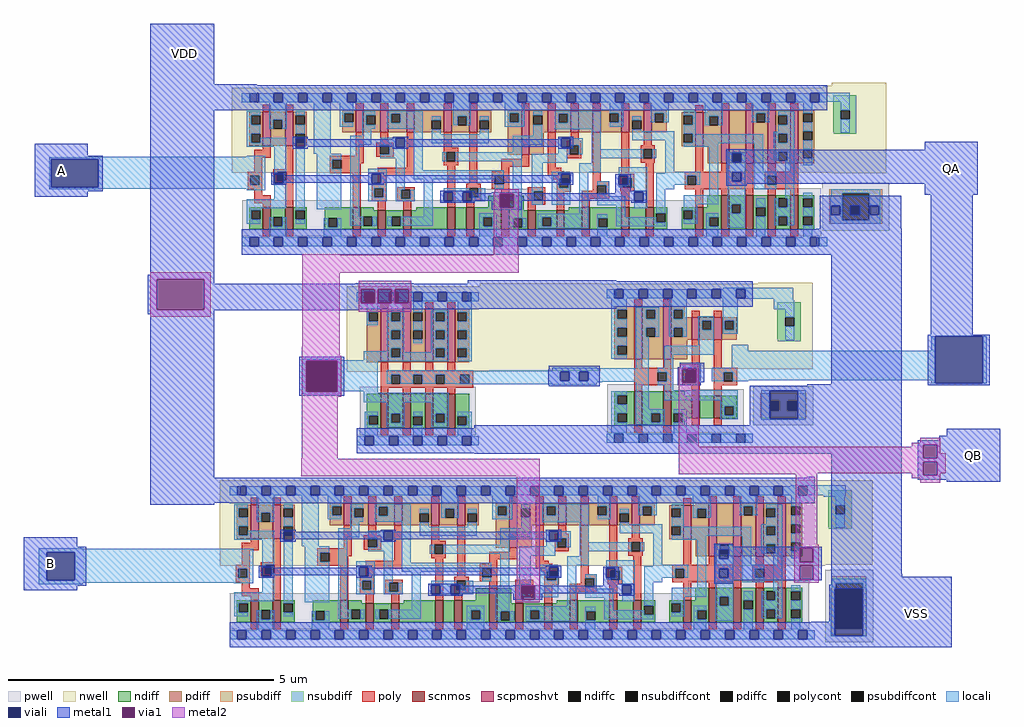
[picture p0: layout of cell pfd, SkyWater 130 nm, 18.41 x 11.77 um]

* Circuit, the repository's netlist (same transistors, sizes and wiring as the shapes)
* NGSPICE file created from pfd.ext - technology: sky130A

.subckt sky130_fd_sc_hd__dfrbp_2 CLK D RESET_B VGND VNB VPB VPWR Q Q_N
X0 a_1217_47# a_27_47# a_1108_47# VNB sky130_fd_pr__nfet_01v8 ad=0.0669 pd=0.75 as=0.0711 ps=0.755 w=0.36 l=0.15
X1 a_805_47# a_761_289# a_639_47# VNB sky130_fd_pr__nfet_01v8 ad=0.0441 pd=0.63 as=0.1401 ps=1.1 w=0.42 l=0.15
X2 a_1108_47# a_193_47# a_761_289# VNB sky130_fd_pr__nfet_01v8 ad=0.0711 pd=0.755 as=0.0999 ps=0.985 w=0.36 l=0.15
X3 a_1283_21# a_1108_47# a_1462_47# VNB sky130_fd_pr__nfet_01v8 ad=0.1092 pd=1.36 as=0.06405 ps=0.725 w=0.42 l=0.15
X4 Q_N a_1659_47# VGND VNB sky130_fd_pr__nfet_01v8 ad=0.08775 pd=0.92 as=0.08775 ps=0.92 w=0.65 l=0.15
X5 a_651_413# a_27_47# a_543_47# VPB sky130_fd_pr__pfet_01v8_hvt ad=0.1155 pd=0.97 as=0.07245 ps=0.765 w=0.42 l=0.15
X6 VGND RESET_B a_805_47# VNB sky130_fd_pr__nfet_01v8 ad=0.1346 pd=1.15 as=0.0441 ps=0.63 w=0.42 l=0.15
X7 VPWR a_1283_21# Q VPB sky130_fd_pr__pfet_01v8_hvt ad=0.135 pd=1.27 as=0.155 ps=1.31 w=1 l=0.15
X8 VPWR CLK a_27_47# VPB sky130_fd_pr__pfet_01v8_hvt ad=0.0864 pd=0.91 as=0.1664 ps=1.8 w=0.64 l=0.15
X9 a_448_47# D VPWR VPB sky130_fd_pr__pfet_01v8_hvt ad=0.0651 pd=0.73 as=0.1092 ps=1.36 w=0.42 l=0.15
X10 VPWR a_1283_21# a_1659_47# VPB sky130_fd_pr__pfet_01v8_hvt ad=0.1522 pd=1.335 as=0.1664 ps=1.8 w=0.64 l=0.15
X11 a_761_289# a_543_47# VGND VNB sky130_fd_pr__nfet_01v8 ad=0.0999 pd=0.985 as=0.1346 ps=1.15 w=0.64 l=0.15
X12 VGND a_1283_21# a_1659_47# VNB sky130_fd_pr__nfet_01v8 ad=0.10025 pd=0.985 as=0.1092 ps=1.36 w=0.42 l=0.15
X13 a_193_47# a_27_47# VGND VNB sky130_fd_pr__nfet_01v8 ad=0.1092 pd=1.36 as=0.0567 ps=0.69 w=0.42 l=0.15
X14 a_1108_47# a_27_47# a_761_289# VPB sky130_fd_pr__pfet_01v8_hvt ad=0.0588 pd=0.7 as=0.12915 ps=1.185 w=0.42 l=0.15
X15 VPWR a_1659_47# Q_N VPB sky130_fd_pr__pfet_01v8_hvt ad=0.31 pd=2.62 as=0.135 ps=1.27 w=1 l=0.15
X16 a_543_47# a_27_47# a_448_47# VNB sky130_fd_pr__nfet_01v8 ad=0.0594 pd=0.69 as=0.066 ps=0.745 w=0.36 l=0.15
X17 a_1462_47# RESET_B VGND VNB sky130_fd_pr__nfet_01v8 ad=0.06405 pd=0.725 as=0.12495 ps=1.015 w=0.42 l=0.15
X18 VGND a_1659_47# Q_N VNB sky130_fd_pr__nfet_01v8 ad=0.2015 pd=1.92 as=0.08775 ps=0.92 w=0.65 l=0.15
X19 a_543_47# a_193_47# a_448_47# VPB sky130_fd_pr__pfet_01v8_hvt ad=0.07245 pd=0.765 as=0.0651 ps=0.73 w=0.42 l=0.15
X20 a_448_47# D VGND VNB sky130_fd_pr__nfet_01v8 ad=0.066 pd=0.745 as=0.2205 ps=1.89 w=0.42 l=0.15
X21 VPWR a_1283_21# a_1270_413# VPB sky130_fd_pr__pfet_01v8_hvt ad=0.0819 pd=0.81 as=0.0567 ps=0.69 w=0.42 l=0.15
X22 VPWR a_1108_47# a_1283_21# VPB sky130_fd_pr__pfet_01v8_hvt ad=0.1197 pd=1.41 as=0.0567 ps=0.69 w=0.42 l=0.15
X23 a_1270_413# a_193_47# a_1108_47# VPB sky130_fd_pr__pfet_01v8_hvt ad=0.0567 pd=0.69 as=0.0588 ps=0.7 w=0.42 l=0.15
X24 a_193_47# a_27_47# VPWR VPB sky130_fd_pr__pfet_01v8_hvt ad=0.1664 pd=1.8 as=0.0864 ps=0.91 w=0.64 l=0.15
X25 a_1283_21# RESET_B VPWR VPB sky130_fd_pr__pfet_01v8_hvt ad=0.0567 pd=0.69 as=0.0819 ps=0.81 w=0.42 l=0.15
X26 Q a_1283_21# VGND VNB sky130_fd_pr__nfet_01v8 ad=0.10075 pd=0.96 as=0.10025 ps=0.985 w=0.65 l=0.15
X27 VPWR a_761_289# a_651_413# VPB sky130_fd_pr__pfet_01v8_hvt ad=0.07035 pd=0.755 as=0.1155 ps=0.97 w=0.42 l=0.15
X28 VGND a_1283_21# Q VNB sky130_fd_pr__nfet_01v8 ad=0.08775 pd=0.92 as=0.10075 ps=0.96 w=0.65 l=0.15
X29 Q_N a_1659_47# VPWR VPB sky130_fd_pr__pfet_01v8_hvt ad=0.135 pd=1.27 as=0.135 ps=1.27 w=1 l=0.15
X30 Q a_1283_21# VPWR VPB sky130_fd_pr__pfet_01v8_hvt ad=0.155 pd=1.31 as=0.1522 ps=1.335 w=1 l=0.15
X31 a_639_47# a_193_47# a_543_47# VNB sky130_fd_pr__nfet_01v8 ad=0.1401 pd=1.1 as=0.0594 ps=0.69 w=0.36 l=0.15
X32 VGND a_1283_21# a_1217_47# VNB sky130_fd_pr__nfet_01v8 ad=0.12495 pd=1.015 as=0.0669 ps=0.75 w=0.42 l=0.15
X33 a_651_413# RESET_B VPWR VPB sky130_fd_pr__pfet_01v8_hvt ad=0.1092 pd=1.36 as=0.07035 ps=0.755 w=0.42 l=0.15
X34 VGND CLK a_27_47# VNB sky130_fd_pr__nfet_01v8 ad=0.0567 pd=0.69 as=0.1092 ps=1.36 w=0.42 l=0.15
X35 a_761_289# a_543_47# VPWR VPB sky130_fd_pr__pfet_01v8_hvt ad=0.12915 pd=1.185 as=0.2184 ps=2.2 w=0.84 l=0.15
.ends

.subckt sky130_fd_sc_hd__and2_2 A B VGND VNB VPB VPWR X
X0 X a_61_75# VPWR VPB sky130_fd_pr__pfet_01v8_hvt ad=0.195 pd=1.39 as=0.16655 ps=1.39 w=1 l=0.15
X1 VPWR a_61_75# X VPB sky130_fd_pr__pfet_01v8_hvt ad=0.38 pd=2.76 as=0.195 ps=1.39 w=1 l=0.15
X2 VPWR B a_61_75# VPB sky130_fd_pr__pfet_01v8_hvt ad=0.16655 pd=1.39 as=0.0567 ps=0.69 w=0.42 l=0.15
X3 VGND B a_147_75# VNB sky130_fd_pr__nfet_01v8 ad=0.1118 pd=1.04 as=0.0567 ps=0.69 w=0.42 l=0.15
X4 X a_61_75# VGND VNB sky130_fd_pr__nfet_01v8 ad=0.12675 pd=1.04 as=0.1118 ps=1.04 w=0.65 l=0.15
X5 VGND a_61_75# X VNB sky130_fd_pr__nfet_01v8 ad=0.247 pd=2.06 as=0.12675 ps=1.04 w=0.65 l=0.15
X6 a_61_75# A VPWR VPB sky130_fd_pr__pfet_01v8_hvt ad=0.0567 pd=0.69 as=0.1176 ps=1.4 w=0.42 l=0.15
X7 a_147_75# A a_61_75# VNB sky130_fd_pr__nfet_01v8 ad=0.0567 pd=0.69 as=0.1176 ps=1.4 w=0.42 l=0.15
.ends

.subckt sky130_fd_sc_hd__inv_4 A VGND VNB VPB VPWR Y
X0 VPWR A Y VPB sky130_fd_pr__pfet_01v8_hvt ad=0.26 pd=2.52 as=0.135 ps=1.27 w=1 l=0.15
X1 Y A VPWR VPB sky130_fd_pr__pfet_01v8_hvt ad=0.135 pd=1.27 as=0.135 ps=1.27 w=1 l=0.15
X2 Y A VGND VNB sky130_fd_pr__nfet_01v8 ad=0.08775 pd=0.92 as=0.169 ps=1.82 w=0.65 l=0.15
X3 VPWR A Y VPB sky130_fd_pr__pfet_01v8_hvt ad=0.135 pd=1.27 as=0.135 ps=1.27 w=1 l=0.15
X4 VGND A Y VNB sky130_fd_pr__nfet_01v8 ad=0.08775 pd=0.92 as=0.08775 ps=0.92 w=0.65 l=0.15
X5 Y A VPWR VPB sky130_fd_pr__pfet_01v8_hvt ad=0.135 pd=1.27 as=0.26 ps=2.52 w=1 l=0.15
X6 VGND A Y VNB sky130_fd_pr__nfet_01v8 ad=0.169 pd=1.82 as=0.08775 ps=0.92 w=0.65 l=0.15
X7 Y A VGND VNB sky130_fd_pr__nfet_01v8 ad=0.08775 pd=0.92 as=0.08775 ps=0.92 w=0.65 l=0.15
.ends

.subckt pfd VSS VDD A QA QB B
Xx1 A VDD x4/Y VSS VSS VDD VDD QA x1/Q_N sky130_fd_sc_hd__dfrbp_2
Xx2 QA QB VSS VSS VDD VDD x4/A sky130_fd_sc_hd__and2_2
Xx3 B VDD x4/Y VSS VSS VDD VDD QB x3/Q_N sky130_fd_sc_hd__dfrbp_2
Xx4 x4/A VSS VSS VDD VDD x4/Y sky130_fd_sc_hd__inv_4
.ends

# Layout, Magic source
magic
tech sky130A
magscale 1 2
<< nwell >>
rect 3704 374 3908 384
rect 3672 328 3908 374
rect 3704 44 3908 328
rect 2376 -702 2832 -372
rect 3426 -696 3632 -370
rect 3674 -1434 3858 -1116
<< pwell >>
rect 3668 -174 3920 8
rect 3408 -908 3634 -760
rect 3678 -1726 3860 -1452
<< psubdiff >>
rect 3694 -32 3894 -18
rect 3694 -134 3743 -32
rect 3845 -134 3894 -32
rect 3694 -148 3894 -134
rect 3434 -817 3608 -786
rect 3434 -851 3470 -817
rect 3504 -851 3538 -817
rect 3572 -851 3608 -817
rect 3434 -882 3608 -851
rect 3704 -1504 3834 -1478
rect 3704 -1674 3718 -1504
rect 3820 -1674 3834 -1504
rect 3704 -1700 3834 -1674
<< nsubdiff >>
rect 3708 281 3796 338
rect 3708 247 3737 281
rect 3771 247 3796 281
rect 3708 198 3796 247
rect 3710 192 3796 198
rect 3498 -501 3586 -444
rect 3498 -535 3527 -501
rect 3561 -535 3586 -501
rect 3498 -584 3586 -535
rect 3500 -590 3586 -584
rect 3690 -1209 3778 -1152
rect 3690 -1243 3719 -1209
rect 3753 -1243 3778 -1209
rect 3690 -1292 3778 -1243
rect 3692 -1298 3778 -1292
<< psubdiffcont >>
rect 3743 -134 3845 -32
rect 3470 -851 3504 -817
rect 3538 -851 3572 -817
rect 3718 -1674 3820 -1504
<< nsubdiffcont >>
rect 3737 247 3771 281
rect 3527 -535 3561 -501
rect 3719 -1243 3753 -1209
<< locali >>
rect 3658 312 3772 346
rect 1750 256 1814 312
rect 3737 281 3771 312
rect 3737 196 3771 247
rect 3312 118 3376 122
rect 890 104 1560 106
rect 752 96 1560 104
rect 752 -10 758 96
rect 936 -10 1560 96
rect 3312 84 3327 118
rect 3361 84 3376 118
rect 3312 46 3376 84
rect 3312 12 3327 46
rect 3361 12 3376 46
rect 3312 8 3376 12
rect 752 -16 1560 -10
rect 752 -18 942 -16
rect 3702 -32 3886 -18
rect 3702 -48 3743 -32
rect 3698 -80 3743 -48
rect 3845 -80 3886 -32
rect 3698 -114 3702 -80
rect 3736 -114 3743 -80
rect 3845 -114 3846 -80
rect 3880 -114 3886 -80
rect 3698 -134 3743 -114
rect 3845 -134 3886 -114
rect 3698 -146 3886 -134
rect 3702 -148 3886 -146
rect 3294 -430 3558 -388
rect 3484 -436 3558 -430
rect 3484 -470 3562 -436
rect 3527 -501 3561 -470
rect 3527 -586 3561 -535
rect 4078 -626 4094 -572
rect 1706 -662 1852 -656
rect 1706 -670 1982 -662
rect 1706 -776 1726 -670
rect 1832 -776 1982 -670
rect 2648 -692 2816 -690
rect 3142 -692 3210 -678
rect 2648 -702 3012 -692
rect 2282 -705 3012 -702
rect 2282 -739 2679 -705
rect 2713 -739 2751 -705
rect 2785 -739 3012 -705
rect 2282 -744 3012 -739
rect 3142 -726 3159 -692
rect 3193 -726 3210 -692
rect 3142 -740 3210 -726
rect 3338 -738 4094 -626
rect 2282 -746 2836 -744
rect 2964 -746 3012 -744
rect 2282 -752 2816 -746
rect 4078 -750 4094 -738
rect 4272 -750 4288 -572
rect 2648 -754 2816 -752
rect 1706 -780 1982 -776
rect 3438 -778 3606 -776
rect 1706 -790 1852 -780
rect 3438 -884 3469 -778
rect 3575 -884 3606 -778
rect 3438 -886 3606 -884
rect 1704 -1226 1766 -1168
rect 3548 -1172 3756 -1134
rect 3674 -1178 3754 -1172
rect 3719 -1209 3753 -1178
rect 3719 -1294 3753 -1243
rect 712 -1374 878 -1372
rect 712 -1387 1470 -1374
rect 712 -1493 742 -1387
rect 848 -1493 1470 -1387
rect 712 -1502 1470 -1493
rect 3266 -1377 3324 -1366
rect 3266 -1411 3278 -1377
rect 3312 -1411 3324 -1377
rect 3266 -1449 3324 -1411
rect 3266 -1483 3278 -1449
rect 3312 -1483 3324 -1449
rect 3266 -1494 3324 -1483
rect 712 -1508 878 -1502
rect 3704 -1504 3834 -1486
rect 3704 -1522 3718 -1504
rect 3700 -1524 3718 -1522
rect 3820 -1522 3834 -1504
rect 3820 -1524 3836 -1522
rect 3700 -1702 3715 -1524
rect 3821 -1702 3836 -1524
rect 3700 -1704 3836 -1702
<< viali >>
rect 758 -10 936 96
rect 3327 84 3361 118
rect 3327 12 3361 46
rect 3702 -114 3736 -80
rect 3774 -114 3808 -80
rect 3846 -114 3880 -80
rect 1726 -776 1832 -670
rect 2679 -739 2713 -705
rect 2751 -739 2785 -705
rect 3159 -726 3193 -692
rect 4094 -750 4272 -572
rect 3469 -817 3575 -778
rect 3469 -851 3470 -817
rect 3470 -851 3504 -817
rect 3504 -851 3538 -817
rect 3538 -851 3572 -817
rect 3572 -851 3575 -817
rect 3469 -884 3575 -851
rect 742 -1493 848 -1387
rect 3278 -1411 3312 -1377
rect 3278 -1483 3312 -1449
rect 3715 -1674 3718 -1524
rect 3718 -1674 3820 -1524
rect 3820 -1674 3821 -1524
rect 3715 -1702 3821 -1674
<< metal1 >>
rect 1132 378 1374 608
rect 1132 280 1534 378
rect 696 110 896 154
rect 696 96 954 110
rect 696 -10 758 96
rect 936 -10 954 96
rect 696 -24 954 -10
rect 696 -46 896 -24
rect 1132 -340 1374 280
rect 3306 132 3382 134
rect 4054 132 4254 162
rect 3306 118 4254 132
rect 3306 84 3327 118
rect 3361 84 4254 118
rect 3306 46 4254 84
rect 3306 12 3327 46
rect 3361 12 4254 46
rect 3306 4 4254 12
rect 3306 -4 3382 4
rect 2421 -35 2533 -28
rect 2421 -87 2451 -35
rect 2503 -87 2533 -35
rect 4054 -38 4254 4
rect 2421 -94 2533 -87
rect 3658 -80 3966 -42
rect 3658 -114 3702 -80
rect 3736 -114 3774 -80
rect 3808 -114 3846 -80
rect 3880 -114 3966 -80
rect 3658 -166 3966 -114
rect 3644 -264 3968 -166
rect 1122 -356 1374 -340
rect 1122 -472 1156 -356
rect 1336 -374 1374 -356
rect 1908 -374 2126 -372
rect 1336 -395 2126 -374
rect 1336 -447 1927 -395
rect 1979 -447 1991 -395
rect 2043 -447 2055 -395
rect 2107 -447 2126 -395
rect 1336 -470 2126 -447
rect 2330 -468 2890 -360
rect 1336 -472 1918 -470
rect 1122 -474 1918 -472
rect 1122 -488 1374 -474
rect 1132 -1106 1374 -488
rect 1694 -665 1864 -650
rect 1694 -781 1721 -665
rect 1837 -781 1864 -665
rect 2636 -698 2828 -684
rect 3130 -688 3222 -672
rect 2634 -705 2828 -698
rect 2634 -739 2679 -705
rect 2713 -739 2751 -705
rect 2785 -739 2828 -705
rect 2634 -754 2828 -739
rect 2636 -760 2828 -754
rect 3122 -692 3222 -688
rect 3122 -696 3159 -692
rect 3122 -748 3140 -696
rect 3193 -726 3222 -692
rect 3192 -746 3222 -726
rect 3192 -748 3210 -746
rect 3122 -756 3210 -748
rect 3702 -752 3968 -264
rect 4076 -566 4236 -38
rect 3610 -758 3968 -752
rect 4066 -572 4300 -566
rect 4066 -750 4094 -572
rect 4272 -750 4300 -572
rect 4066 -756 4300 -750
rect 1694 -796 1864 -781
rect 3394 -778 3968 -758
rect 3394 -884 3469 -778
rect 3575 -884 3968 -778
rect 2933 -908 3007 -906
rect 3394 -908 3968 -884
rect 2354 -1016 3968 -908
rect 4138 -948 4338 -920
rect 4108 -964 4338 -948
rect 1132 -1200 1474 -1106
rect 1132 -1208 1374 -1200
rect 3610 -1202 3640 -1102
rect 656 -1366 856 -1330
rect 3260 -1366 3330 -1354
rect 656 -1387 890 -1366
rect 656 -1493 742 -1387
rect 848 -1493 890 -1387
rect 656 -1514 890 -1493
rect 3260 -1372 3666 -1366
rect 3260 -1377 3582 -1372
rect 3260 -1411 3278 -1377
rect 3312 -1411 3582 -1377
rect 3260 -1424 3582 -1411
rect 3634 -1424 3666 -1372
rect 3260 -1436 3666 -1424
rect 3260 -1449 3582 -1436
rect 3260 -1483 3278 -1449
rect 3312 -1483 3582 -1449
rect 3260 -1488 3582 -1483
rect 3634 -1488 3666 -1436
rect 3260 -1492 3666 -1488
rect 3702 -1470 3968 -1016
rect 4028 -981 4338 -964
rect 4028 -1033 4049 -981
rect 4101 -1033 4338 -981
rect 4028 -1045 4338 -1033
rect 4028 -1097 4049 -1045
rect 4101 -1097 4338 -1045
rect 4028 -1114 4338 -1097
rect 4138 -1120 4338 -1114
rect 3702 -1480 3970 -1470
rect 3260 -1506 3330 -1492
rect 3702 -1510 4156 -1480
rect 2502 -1513 2612 -1512
rect 656 -1530 856 -1514
rect 2502 -1565 2531 -1513
rect 2583 -1565 2612 -1513
rect 2502 -1566 2612 -1565
rect 3694 -1524 4156 -1510
rect 3694 -1648 3715 -1524
rect 3626 -1702 3715 -1648
rect 3821 -1702 4156 -1524
rect 3626 -1746 4156 -1702
<< via1 >>
rect 2451 -87 2503 -35
rect 1156 -472 1336 -356
rect 1927 -447 1979 -395
rect 1991 -447 2043 -395
rect 2055 -447 2107 -395
rect 1721 -670 1837 -665
rect 1721 -776 1726 -670
rect 1726 -776 1832 -670
rect 1832 -776 1837 -670
rect 1721 -781 1837 -776
rect 3140 -726 3159 -696
rect 3159 -726 3192 -696
rect 3140 -748 3192 -726
rect 3582 -1424 3634 -1372
rect 3582 -1488 3634 -1436
rect 4049 -1033 4101 -981
rect 4049 -1097 4101 -1045
rect 2531 -1565 2583 -1513
<< metal2 >>
rect 2431 -28 2523 -18
rect 2429 -35 2523 -28
rect 2429 -87 2451 -35
rect 2503 -87 2523 -35
rect 2429 -104 2523 -87
rect 1706 -264 1848 -262
rect 2429 -264 2521 -104
rect 1132 -356 1360 -330
rect 1132 -472 1156 -356
rect 1336 -472 1360 -356
rect 1132 -498 1360 -472
rect 1706 -332 2522 -264
rect 1706 -614 1848 -332
rect 1918 -395 2116 -362
rect 1918 -447 1927 -395
rect 1979 -447 1991 -395
rect 2043 -447 2055 -395
rect 2107 -447 2116 -395
rect 1918 -480 2116 -447
rect 1704 -646 1848 -614
rect 1704 -665 1852 -646
rect 1704 -781 1721 -665
rect 1837 -781 1852 -665
rect 3132 -690 3200 -678
rect 1704 -800 1852 -781
rect 3126 -696 3202 -690
rect 3126 -748 3140 -696
rect 3192 -748 3202 -696
rect 1704 -1034 1840 -800
rect 3126 -988 3202 -748
rect 4038 -974 4112 -954
rect 4006 -981 4112 -974
rect 4006 -988 4049 -981
rect 3126 -1033 4049 -988
rect 4101 -1014 4112 -981
rect 4101 -1033 4134 -1014
rect 1702 -1100 2602 -1034
rect 3126 -1045 4134 -1033
rect 3126 -1088 4049 -1045
rect 3126 -1092 3648 -1088
rect 2514 -1502 2602 -1100
rect 3568 -1358 3648 -1092
rect 4006 -1097 4049 -1088
rect 4101 -1088 4134 -1045
rect 4101 -1097 4112 -1088
rect 4006 -1108 4112 -1097
rect 4038 -1124 4112 -1108
rect 3562 -1372 3654 -1358
rect 3562 -1424 3582 -1372
rect 3634 -1424 3654 -1372
rect 3562 -1436 3654 -1424
rect 3562 -1488 3582 -1436
rect 3634 -1488 3654 -1436
rect 3562 -1502 3654 -1488
rect 2512 -1513 2602 -1502
rect 2512 -1565 2531 -1513
rect 2583 -1565 2602 -1513
rect 2512 -1576 2602 -1565
use sky130_fd_sc_hd__dfrbp_2  x1
transform 1 0 1478 0 1 -216
box -38 -48 2246 592
use sky130_fd_sc_hd__and2_2  x2
transform -1 0 3406 0 1 -956
box -38 -48 590 592
use sky130_fd_sc_hd__dfrbp_2  x3
transform 1 0 1432 0 1 -1698
box -38 -48 2246 592
use sky130_fd_sc_hd__inv_4  x4
transform -1 0 2372 0 1 -966
box -38 -48 498 592
<< labels >>
flabel metal1 s 1160 394 1360 594 0 FreeSans 320 0 0 0 VDD
port 2 nsew
flabel metal1 s 696 -46 896 154 0 FreeSans 320 0 0 0 A
port 3 nsew
flabel metal1 s 4054 -38 4254 162 0 FreeSans 320 0 0 0 QA
port 4 nsew
flabel metal1 s 656 -1530 856 -1330 0 FreeSans 320 0 0 0 B
port 6 nsew
flabel metal1 s 3922 -1718 4122 -1518 0 FreeSans 320 0 0 0 VSS
port 1 nsew
flabel metal1 s 4138 -1120 4338 -920 0 FreeSans 320 0 0 0 QB
port 5 nsew
<< end >>

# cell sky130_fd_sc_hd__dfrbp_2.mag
magic
tech sky130A
magscale 1 2
<< nwell >>
rect -38 261 2246 582
<< pwell >>
rect 903 157 1089 201
rect 1730 157 2186 203
rect 1 21 2186 157
rect 29 -17 63 21
<< scnmos >>
rect 79 47 109 131
rect 163 47 193 131
rect 418 47 448 131
rect 513 47 543 119
rect 609 47 639 119
rect 775 47 805 131
rect 847 47 877 131
rect 979 47 1009 175
rect 1078 47 1108 119
rect 1187 47 1217 119
rect 1283 47 1313 131
rect 1432 47 1462 131
rect 1523 47 1553 131
rect 1711 47 1741 131
rect 1808 47 1838 177
rect 1900 47 1930 177
rect 1984 47 2014 177
rect 2068 47 2098 177
<< scpmoshvt >>
rect 79 363 109 491
rect 163 363 193 491
rect 430 413 460 497
rect 522 413 552 497
rect 621 413 651 497
rect 761 413 791 497
rect 858 413 888 497
rect 1055 329 1085 497
rect 1154 413 1184 497
rect 1240 413 1270 497
rect 1324 413 1354 497
rect 1432 413 1462 497
rect 1516 413 1546 497
rect 1711 361 1741 489
rect 1808 297 1838 497
rect 1900 297 1930 497
rect 1984 297 2014 497
rect 2068 297 2098 497
<< ndiff >>
rect 27 119 79 131
rect 27 85 35 119
rect 69 85 79 119
rect 27 47 79 85
rect 109 93 163 131
rect 109 59 119 93
rect 153 59 163 93
rect 109 47 163 59
rect 193 119 245 131
rect 193 85 203 119
rect 237 85 245 119
rect 193 47 245 85
rect 313 89 418 131
rect 313 55 325 89
rect 359 55 418 89
rect 313 47 418 55
rect 448 119 498 131
rect 929 131 979 175
rect 657 119 775 131
rect 448 95 513 119
rect 448 61 458 95
rect 492 61 513 95
rect 448 47 513 61
rect 543 95 609 119
rect 543 61 565 95
rect 599 61 609 95
rect 543 47 609 61
rect 639 47 775 119
rect 805 47 847 131
rect 877 93 979 131
rect 877 59 911 93
rect 945 59 979 93
rect 877 47 979 59
rect 1009 119 1063 175
rect 1756 131 1808 177
rect 1233 119 1283 131
rect 1009 89 1078 119
rect 1009 55 1023 89
rect 1057 55 1078 89
rect 1009 47 1078 55
rect 1108 93 1187 119
rect 1108 59 1133 93
rect 1167 59 1187 93
rect 1108 47 1187 59
rect 1217 47 1283 119
rect 1313 89 1432 131
rect 1313 55 1345 89
rect 1379 55 1432 89
rect 1313 47 1432 55
rect 1462 47 1523 131
rect 1553 109 1605 131
rect 1553 75 1563 109
rect 1597 75 1605 109
rect 1553 47 1605 75
rect 1659 119 1711 131
rect 1659 85 1667 119
rect 1701 85 1711 119
rect 1659 47 1711 85
rect 1741 93 1808 131
rect 1741 59 1764 93
rect 1798 59 1808 93
rect 1741 47 1808 59
rect 1838 143 1900 177
rect 1838 109 1848 143
rect 1882 109 1900 143
rect 1838 47 1900 109
rect 1930 130 1984 177
rect 1930 96 1940 130
rect 1974 96 1984 130
rect 1930 47 1984 96
rect 2014 165 2068 177
rect 2014 131 2024 165
rect 2058 131 2068 165
rect 2014 97 2068 131
rect 2014 63 2024 97
rect 2058 63 2068 97
rect 2014 47 2068 63
rect 2098 165 2160 177
rect 2098 131 2118 165
rect 2152 131 2160 165
rect 2098 97 2160 131
rect 2098 63 2118 97
rect 2152 63 2160 97
rect 2098 47 2160 63
<< pdiff >>
rect 27 477 79 491
rect 27 443 35 477
rect 69 443 79 477
rect 27 409 79 443
rect 27 375 35 409
rect 69 375 79 409
rect 27 363 79 375
rect 109 461 163 491
rect 109 427 119 461
rect 153 427 163 461
rect 109 363 163 427
rect 193 477 245 491
rect 193 443 203 477
rect 237 443 245 477
rect 193 409 245 443
rect 378 485 430 497
rect 378 451 386 485
rect 420 451 430 485
rect 378 413 430 451
rect 460 477 522 497
rect 460 443 470 477
rect 504 443 522 477
rect 460 413 522 443
rect 552 483 621 497
rect 552 449 563 483
rect 597 449 621 483
rect 552 413 621 449
rect 651 459 761 497
rect 651 425 717 459
rect 751 425 761 459
rect 651 413 761 425
rect 791 475 858 497
rect 791 441 814 475
rect 848 441 858 475
rect 791 413 858 441
rect 888 459 940 497
rect 888 425 898 459
rect 932 425 940 459
rect 888 413 940 425
rect 1003 485 1055 497
rect 1003 451 1011 485
rect 1045 451 1055 485
rect 193 375 203 409
rect 237 375 245 409
rect 193 363 245 375
rect 1003 329 1055 451
rect 1085 477 1154 497
rect 1085 443 1099 477
rect 1133 443 1154 477
rect 1085 413 1154 443
rect 1184 484 1240 497
rect 1184 450 1196 484
rect 1230 450 1240 484
rect 1184 413 1240 450
rect 1270 413 1324 497
rect 1354 485 1432 497
rect 1354 451 1388 485
rect 1422 451 1432 485
rect 1354 413 1432 451
rect 1462 459 1516 497
rect 1462 425 1472 459
rect 1506 425 1516 459
rect 1462 413 1516 425
rect 1546 485 1603 497
rect 1758 489 1808 497
rect 1546 451 1558 485
rect 1592 451 1603 485
rect 1546 413 1603 451
rect 1659 477 1711 489
rect 1659 443 1667 477
rect 1701 443 1711 477
rect 1085 329 1139 413
rect 1659 409 1711 443
rect 1659 375 1667 409
rect 1701 375 1711 409
rect 1659 361 1711 375
rect 1741 475 1808 489
rect 1741 441 1764 475
rect 1798 441 1808 475
rect 1741 361 1808 441
rect 1758 297 1808 361
rect 1838 339 1900 497
rect 1838 305 1848 339
rect 1882 305 1900 339
rect 1838 297 1900 305
rect 1930 485 1984 497
rect 1930 451 1940 485
rect 1974 451 1984 485
rect 1930 297 1984 451
rect 2014 477 2068 497
rect 2014 443 2024 477
rect 2058 443 2068 477
rect 2014 409 2068 443
rect 2014 375 2024 409
rect 2058 375 2068 409
rect 2014 341 2068 375
rect 2014 307 2024 341
rect 2058 307 2068 341
rect 2014 297 2068 307
rect 2098 485 2160 497
rect 2098 451 2118 485
rect 2152 451 2160 485
rect 2098 417 2160 451
rect 2098 383 2118 417
rect 2152 383 2160 417
rect 2098 349 2160 383
rect 2098 315 2118 349
rect 2152 315 2160 349
rect 2098 297 2160 315
<< ndiffc >>
rect 35 85 69 119
rect 119 59 153 93
rect 203 85 237 119
rect 325 55 359 89
rect 458 61 492 95
rect 565 61 599 95
rect 911 59 945 93
rect 1023 55 1057 89
rect 1133 59 1167 93
rect 1345 55 1379 89
rect 1563 75 1597 109
rect 1667 85 1701 119
rect 1764 59 1798 93
rect 1848 109 1882 143
rect 1940 96 1974 130
rect 2024 131 2058 165
rect 2024 63 2058 97
rect 2118 131 2152 165
rect 2118 63 2152 97
<< pdiffc >>
rect 35 443 69 477
rect 35 375 69 409
rect 119 427 153 461
rect 203 443 237 477
rect 386 451 420 485
rect 470 443 504 477
rect 563 449 597 483
rect 717 425 751 459
rect 814 441 848 475
rect 898 425 932 459
rect 1011 451 1045 485
rect 203 375 237 409
rect 1099 443 1133 477
rect 1196 450 1230 484
rect 1388 451 1422 485
rect 1472 425 1506 459
rect 1558 451 1592 485
rect 1667 443 1701 477
rect 1667 375 1701 409
rect 1764 441 1798 475
rect 1848 305 1882 339
rect 1940 451 1974 485
rect 2024 443 2058 477
rect 2024 375 2058 409
rect 2024 307 2058 341
rect 2118 451 2152 485
rect 2118 383 2152 417
rect 2118 315 2152 349
<< poly >>
rect 79 491 109 517
rect 163 491 193 517
rect 430 497 460 523
rect 522 497 552 523
rect 621 497 651 523
rect 761 497 791 523
rect 858 497 888 523
rect 1055 497 1085 523
rect 1154 497 1184 523
rect 1240 497 1270 523
rect 1324 497 1354 523
rect 1432 497 1462 523
rect 1516 497 1546 523
rect 79 348 109 363
rect 46 318 109 348
rect 46 265 76 318
rect 163 274 193 363
rect 430 326 460 413
rect 522 375 552 413
rect 22 249 76 265
rect 22 215 32 249
rect 66 215 76 249
rect 118 264 193 274
rect 118 230 134 264
rect 168 230 193 264
rect 331 310 460 326
rect 506 365 572 375
rect 506 331 522 365
rect 556 331 572 365
rect 506 321 572 331
rect 331 276 341 310
rect 375 296 460 310
rect 375 276 448 296
rect 621 279 651 413
rect 761 355 791 413
rect 761 339 816 355
rect 761 305 771 339
rect 805 305 816 339
rect 761 289 816 305
rect 331 260 448 276
rect 118 220 193 230
rect 22 199 76 215
rect 46 176 76 199
rect 46 146 109 176
rect 79 131 109 146
rect 163 131 193 220
rect 418 131 448 260
rect 513 249 651 279
rect 513 219 544 249
rect 490 203 544 219
rect 490 169 500 203
rect 534 169 544 203
rect 490 153 544 169
rect 586 197 652 207
rect 586 163 602 197
rect 636 163 652 197
rect 586 153 652 163
rect 513 119 543 153
rect 609 119 639 153
rect 775 131 805 289
rect 858 219 888 413
rect 1711 489 1741 515
rect 1808 497 1838 523
rect 1900 497 1930 523
rect 1984 497 2014 523
rect 2068 497 2098 523
rect 1055 314 1085 329
rect 979 284 1085 314
rect 979 267 1009 284
rect 943 251 1009 267
rect 847 203 901 219
rect 847 169 857 203
rect 891 169 901 203
rect 943 217 953 251
rect 987 217 1009 251
rect 1154 279 1184 413
rect 1240 381 1270 413
rect 1226 365 1280 381
rect 1226 331 1236 365
rect 1270 331 1280 365
rect 1226 315 1280 331
rect 1154 267 1204 279
rect 1154 255 1217 267
rect 1154 249 1241 255
rect 1175 239 1241 249
rect 1175 237 1197 239
rect 943 201 1009 217
rect 979 175 1009 201
rect 1078 191 1145 207
rect 847 153 901 169
rect 847 131 877 153
rect 1078 157 1101 191
rect 1135 157 1145 191
rect 1078 141 1145 157
rect 1187 205 1197 237
rect 1231 205 1241 239
rect 1187 189 1241 205
rect 1324 229 1354 413
rect 1432 257 1462 413
rect 1516 365 1546 413
rect 1504 349 1558 365
rect 1504 315 1514 349
rect 1548 315 1558 349
rect 1504 299 1558 315
rect 1427 241 1481 257
rect 1324 213 1385 229
rect 1324 193 1341 213
rect 1078 119 1108 141
rect 1187 119 1217 189
rect 1283 179 1341 193
rect 1375 179 1385 213
rect 1427 207 1437 241
rect 1471 207 1481 241
rect 1427 191 1481 207
rect 1283 163 1385 179
rect 1283 131 1313 163
rect 1432 131 1462 191
rect 1523 131 1553 299
rect 1711 265 1741 361
rect 1808 265 1838 297
rect 1900 265 1930 297
rect 1984 265 2014 297
rect 2068 265 2098 297
rect 1670 249 1930 265
rect 1670 215 1680 249
rect 1714 215 1930 249
rect 1670 199 1930 215
rect 1972 249 2098 265
rect 1972 215 1982 249
rect 2016 215 2098 249
rect 1972 199 2098 215
rect 1711 131 1741 199
rect 1808 177 1838 199
rect 1900 177 1930 199
rect 1984 177 2014 199
rect 2068 177 2098 199
rect 79 21 109 47
rect 163 21 193 47
rect 418 21 448 47
rect 513 21 543 47
rect 609 21 639 47
rect 775 21 805 47
rect 847 21 877 47
rect 979 21 1009 47
rect 1078 21 1108 47
rect 1187 21 1217 47
rect 1283 21 1313 47
rect 1432 21 1462 47
rect 1523 21 1553 47
rect 1711 21 1741 47
rect 1808 21 1838 47
rect 1900 21 1930 47
rect 1984 21 2014 47
rect 2068 21 2098 47
<< polycont >>
rect 32 215 66 249
rect 134 230 168 264
rect 522 331 556 365
rect 341 276 375 310
rect 771 305 805 339
rect 500 169 534 203
rect 602 163 636 197
rect 857 169 891 203
rect 953 217 987 251
rect 1236 331 1270 365
rect 1101 157 1135 191
rect 1197 205 1231 239
rect 1514 315 1548 349
rect 1341 179 1375 213
rect 1437 207 1471 241
rect 1680 215 1714 249
rect 1982 215 2016 249
<< locali >>
rect 0 527 29 561
rect 63 527 121 561
rect 155 527 213 561
rect 247 527 305 561
rect 339 527 397 561
rect 431 527 489 561
rect 523 527 581 561
rect 615 527 673 561
rect 707 527 765 561
rect 799 527 857 561
rect 891 527 949 561
rect 983 527 1041 561
rect 1075 527 1133 561
rect 1167 527 1225 561
rect 1259 527 1317 561
rect 1351 527 1409 561
rect 1443 527 1501 561
rect 1535 527 1593 561
rect 1627 527 1685 561
rect 1719 527 1777 561
rect 1811 527 1869 561
rect 1903 527 1961 561
rect 1995 527 2053 561
rect 2087 527 2145 561
rect 2179 527 2208 561
rect 18 477 69 493
rect 18 443 35 477
rect 18 409 69 443
rect 103 461 169 527
rect 103 427 119 461
rect 153 427 169 461
rect 203 477 237 493
rect 18 375 35 409
rect 203 409 237 443
rect 69 375 168 393
rect 18 359 168 375
rect 18 249 88 325
rect 18 215 32 249
rect 66 215 88 249
rect 18 195 88 215
rect 122 264 168 359
rect 122 255 134 264
rect 156 221 168 230
rect 122 161 168 221
rect 18 127 168 161
rect 18 119 69 127
rect 18 85 35 119
rect 203 119 237 357
rect 271 333 336 490
rect 370 485 420 527
rect 370 451 386 485
rect 370 435 420 451
rect 454 477 504 493
rect 454 443 470 477
rect 454 427 504 443
rect 547 483 683 493
rect 547 449 563 483
rect 597 449 683 483
rect 798 475 864 527
rect 991 485 1065 527
rect 547 427 683 449
rect 454 401 488 427
rect 409 367 488 401
rect 522 391 615 393
rect 283 310 375 333
rect 283 276 341 310
rect 283 123 375 276
rect 18 69 69 85
rect 103 59 119 93
rect 153 59 169 93
rect 409 95 443 367
rect 522 365 581 391
rect 556 357 581 365
rect 556 331 615 357
rect 522 315 615 331
rect 477 255 547 277
rect 477 221 489 255
rect 523 221 547 255
rect 477 203 547 221
rect 477 169 500 203
rect 534 169 547 203
rect 477 153 547 169
rect 581 197 615 315
rect 649 271 683 427
rect 717 459 751 475
rect 798 441 814 475
rect 848 441 864 475
rect 898 459 932 475
rect 717 407 751 425
rect 991 451 1011 485
rect 1045 451 1065 485
rect 991 435 1065 451
rect 1099 477 1133 493
rect 898 407 932 425
rect 717 373 932 407
rect 1099 401 1133 443
rect 1180 484 1354 493
rect 1180 450 1196 484
rect 1230 450 1354 484
rect 1180 425 1354 450
rect 1388 485 1438 527
rect 1422 451 1438 485
rect 1542 485 1611 527
rect 1388 435 1438 451
rect 1472 459 1506 475
rect 1021 367 1133 401
rect 1021 339 1055 367
rect 755 305 771 339
rect 805 305 1055 339
rect 1194 357 1205 391
rect 1239 365 1286 391
rect 1194 333 1236 357
rect 649 251 987 271
rect 649 237 953 251
rect 581 163 602 197
rect 636 163 652 197
rect 581 153 652 163
rect 686 95 720 237
rect 761 187 857 203
rect 795 153 833 187
rect 891 169 919 203
rect 953 201 987 217
rect 867 153 919 169
rect 1021 167 1055 305
rect 203 69 237 85
rect 103 17 169 59
rect 309 55 325 89
rect 359 55 375 89
rect 409 61 458 95
rect 492 61 508 95
rect 549 61 565 95
rect 599 61 720 95
rect 895 93 961 109
rect 309 17 375 55
rect 895 59 911 93
rect 945 59 961 93
rect 895 17 961 59
rect 1003 89 1055 167
rect 1093 331 1236 333
rect 1270 331 1286 365
rect 1320 349 1354 425
rect 1542 451 1558 485
rect 1592 451 1611 485
rect 1667 477 1712 493
rect 1472 417 1506 425
rect 1701 443 1712 477
rect 1472 383 1632 417
rect 1093 299 1228 331
rect 1320 315 1514 349
rect 1548 315 1564 349
rect 1093 191 1135 299
rect 1320 297 1354 315
rect 1093 157 1101 191
rect 1093 141 1135 157
rect 1169 255 1239 265
rect 1169 239 1205 255
rect 1169 205 1197 239
rect 1231 205 1239 221
rect 1169 141 1239 205
rect 1273 263 1354 297
rect 1273 107 1307 263
rect 1421 250 1529 281
rect 1598 265 1632 383
rect 1667 409 1712 443
rect 1746 475 1814 527
rect 1746 441 1764 475
rect 1798 441 1814 475
rect 1924 485 1990 527
rect 1924 451 1940 485
rect 1974 451 1990 485
rect 2024 477 2084 493
rect 2058 443 2084 477
rect 2024 416 2084 443
rect 1701 407 1712 409
rect 2006 409 2084 416
rect 1701 375 1967 407
rect 1667 373 1967 375
rect 1667 359 1798 373
rect 1598 259 1730 265
rect 1455 241 1529 250
rect 1341 213 1385 229
rect 1375 179 1385 213
rect 1421 207 1437 216
rect 1471 207 1529 241
rect 1341 173 1385 179
rect 1481 187 1529 207
rect 1341 139 1447 173
rect 1117 93 1307 107
rect 1003 55 1023 89
rect 1057 55 1073 89
rect 1117 59 1133 93
rect 1167 59 1307 93
rect 1117 51 1307 59
rect 1341 89 1379 105
rect 1341 55 1345 89
rect 1413 93 1447 139
rect 1515 153 1529 187
rect 1481 127 1529 153
rect 1563 249 1730 259
rect 1563 215 1680 249
rect 1714 215 1730 249
rect 1563 199 1632 215
rect 1563 109 1597 199
rect 1764 177 1798 359
rect 1413 75 1563 93
rect 1413 59 1597 75
rect 1667 143 1798 177
rect 1832 305 1848 339
rect 1882 305 1899 339
rect 1832 143 1899 305
rect 1933 265 1967 373
rect 2006 375 2024 409
rect 2058 375 2084 409
rect 2006 341 2084 375
rect 2006 307 2024 341
rect 2058 307 2084 341
rect 1933 249 2016 265
rect 1933 215 1982 249
rect 1933 199 2016 215
rect 2050 165 2084 307
rect 2118 485 2152 527
rect 2118 417 2152 451
rect 2118 349 2152 383
rect 2118 289 2152 315
rect 1667 119 1717 143
rect 1701 85 1717 119
rect 1832 109 1848 143
rect 1882 109 1899 143
rect 1667 69 1717 85
rect 1751 93 1798 109
rect 1751 59 1764 93
rect 1341 17 1379 55
rect 1751 17 1798 59
rect 1832 53 1899 109
rect 1940 130 1974 165
rect 1940 17 1974 96
rect 2008 131 2024 165
rect 2058 131 2084 165
rect 2008 97 2084 131
rect 2008 63 2024 97
rect 2058 63 2084 97
rect 2008 62 2084 63
rect 2118 165 2152 186
rect 2118 97 2152 131
rect 2118 17 2152 63
rect 0 -17 29 17
rect 63 -17 121 17
rect 155 -17 213 17
rect 247 -17 305 17
rect 339 -17 397 17
rect 431 -17 489 17
rect 523 -17 581 17
rect 615 -17 673 17
rect 707 -17 765 17
rect 799 -17 857 17
rect 891 -17 949 17
rect 983 -17 1041 17
rect 1075 -17 1133 17
rect 1167 -17 1225 17
rect 1259 -17 1317 17
rect 1351 -17 1409 17
rect 1443 -17 1501 17
rect 1535 -17 1593 17
rect 1627 -17 1685 17
rect 1719 -17 1777 17
rect 1811 -17 1869 17
rect 1903 -17 1961 17
rect 1995 -17 2053 17
rect 2087 -17 2145 17
rect 2179 -17 2208 17
<< viali >>
rect 29 527 63 561
rect 121 527 155 561
rect 213 527 247 561
rect 305 527 339 561
rect 397 527 431 561
rect 489 527 523 561
rect 581 527 615 561
rect 673 527 707 561
rect 765 527 799 561
rect 857 527 891 561
rect 949 527 983 561
rect 1041 527 1075 561
rect 1133 527 1167 561
rect 1225 527 1259 561
rect 1317 527 1351 561
rect 1409 527 1443 561
rect 1501 527 1535 561
rect 1593 527 1627 561
rect 1685 527 1719 561
rect 1777 527 1811 561
rect 1869 527 1903 561
rect 1961 527 1995 561
rect 2053 527 2087 561
rect 2145 527 2179 561
rect 122 230 134 255
rect 134 230 156 255
rect 122 221 156 230
rect 203 375 237 391
rect 203 357 237 375
rect 581 357 615 391
rect 489 221 523 255
rect 1205 365 1239 391
rect 1205 357 1236 365
rect 1236 357 1239 365
rect 761 153 795 187
rect 833 169 857 187
rect 857 169 867 187
rect 833 153 867 169
rect 1205 239 1239 255
rect 1205 221 1231 239
rect 1231 221 1239 239
rect 1421 241 1455 250
rect 1421 216 1437 241
rect 1437 216 1455 241
rect 1481 153 1515 187
rect 29 -17 63 17
rect 121 -17 155 17
rect 213 -17 247 17
rect 305 -17 339 17
rect 397 -17 431 17
rect 489 -17 523 17
rect 581 -17 615 17
rect 673 -17 707 17
rect 765 -17 799 17
rect 857 -17 891 17
rect 949 -17 983 17
rect 1041 -17 1075 17
rect 1133 -17 1167 17
rect 1225 -17 1259 17
rect 1317 -17 1351 17
rect 1409 -17 1443 17
rect 1501 -17 1535 17
rect 1593 -17 1627 17
rect 1685 -17 1719 17
rect 1777 -17 1811 17
rect 1869 -17 1903 17
rect 1961 -17 1995 17
rect 2053 -17 2087 17
rect 2145 -17 2179 17
<< metal1 >>
rect 0 561 2208 592
rect 0 527 29 561
rect 63 527 121 561
rect 155 527 213 561
rect 247 527 305 561
rect 339 527 397 561
rect 431 527 489 561
rect 523 527 581 561
rect 615 527 673 561
rect 707 527 765 561
rect 799 527 857 561
rect 891 527 949 561
rect 983 527 1041 561
rect 1075 527 1133 561
rect 1167 527 1225 561
rect 1259 527 1317 561
rect 1351 527 1409 561
rect 1443 527 1501 561
rect 1535 527 1593 561
rect 1627 527 1685 561
rect 1719 527 1777 561
rect 1811 527 1869 561
rect 1903 527 1961 561
rect 1995 527 2053 561
rect 2087 527 2145 561
rect 2179 527 2208 561
rect 0 496 2208 527
rect 191 391 249 397
rect 191 357 203 391
rect 237 388 249 391
rect 569 391 627 397
rect 569 388 581 391
rect 237 360 581 388
rect 237 357 249 360
rect 191 351 249 357
rect 569 357 581 360
rect 615 388 627 391
rect 1193 391 1251 397
rect 1193 388 1205 391
rect 615 360 1205 388
rect 615 357 627 360
rect 569 351 627 357
rect 1193 357 1205 360
rect 1239 357 1251 391
rect 1193 351 1251 357
rect 110 255 168 261
rect 110 221 122 255
rect 156 252 168 255
rect 477 255 535 261
rect 477 252 489 255
rect 156 224 489 252
rect 156 221 168 224
rect 110 215 168 221
rect 477 221 489 224
rect 523 252 535 255
rect 1193 255 1251 261
rect 1193 252 1205 255
rect 523 224 1205 252
rect 523 221 535 224
rect 477 215 535 221
rect 1193 221 1205 224
rect 1239 221 1251 255
rect 1193 215 1251 221
rect 1409 250 1467 256
rect 1409 216 1421 250
rect 1455 216 1467 250
rect 1409 193 1467 216
rect 749 187 879 193
rect 749 153 761 187
rect 795 153 833 187
rect 867 184 879 187
rect 1409 187 1527 193
rect 1409 184 1481 187
rect 867 156 1481 184
rect 867 153 879 156
rect 749 147 879 153
rect 1469 153 1481 156
rect 1515 153 1527 187
rect 1469 147 1527 153
rect 0 17 2208 48
rect 0 -17 29 17
rect 63 -17 121 17
rect 155 -17 213 17
rect 247 -17 305 17
rect 339 -17 397 17
rect 431 -17 489 17
rect 523 -17 581 17
rect 615 -17 673 17
rect 707 -17 765 17
rect 799 -17 857 17
rect 891 -17 949 17
rect 983 -17 1041 17
rect 1075 -17 1133 17
rect 1167 -17 1225 17
rect 1259 -17 1317 17
rect 1351 -17 1409 17
rect 1443 -17 1501 17
rect 1535 -17 1593 17
rect 1627 -17 1685 17
rect 1719 -17 1777 17
rect 1811 -17 1869 17
rect 1903 -17 1961 17
rect 1995 -17 2053 17
rect 2087 -17 2145 17
rect 2179 -17 2208 17
rect 0 -48 2208 -17
<< labels >>
flabel locali s 1851 213 1883 249 0 FreeSans 200 0 0 0 Q
port 10 nsew
flabel locali s 2055 222 2078 257 0 FreeSans 200 0 0 0 Q_N
port 9 nsew
flabel locali s 1481 153 1515 187 0 FreeSans 400 0 0 0 RESET_B
port 8 nsew
flabel locali s 305 289 339 323 0 FreeSans 400 0 0 0 D
port 7 nsew
flabel locali s 30 289 64 323 0 FreeSans 400 0 0 0 CLK
port 6 nsew
flabel locali s 30 221 64 255 0 FreeSans 400 0 0 0 CLK
port 6 nsew
flabel locali s 1481 221 1515 255 0 FreeSans 400 0 0 0 RESET_B
port 8 nsew
flabel metal1 s 29 -17 63 17 0 FreeSans 200 0 0 0 VGND
port 2 nsew
flabel metal1 s 29 527 63 561 0 FreeSans 200 0 0 0 VPWR
port 3 nsew
flabel nwell s 29 527 63 561 0 FreeSans 200 0 0 0 VPB
port 4 nsew
flabel pwell s 29 -17 63 17 0 FreeSans 200 0 0 0 VNB
port 5 nsew
rlabel comment s 0 0 0 0 4 dfrbp_2
<< properties >>
string FIXED_BBOX 0 0 2208 544
string path 9.660 0.000 10.120 0.000 
<< end >>

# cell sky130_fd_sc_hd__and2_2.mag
magic
tech sky130A
magscale 1 2
<< nwell >>
rect -38 261 590 582
<< pwell >>
rect 231 185 549 203
rect 35 21 549 185
rect 35 17 63 21
rect 29 -17 63 17
<< scnmos >>
rect 117 75 147 159
rect 201 75 231 159
rect 309 47 339 177
rect 417 47 447 177
<< scpmoshvt >>
rect 117 371 147 455
rect 201 371 231 455
rect 309 297 339 497
rect 417 297 447 497
<< ndiff >>
rect 257 159 309 177
rect 61 121 117 159
rect 61 87 73 121
rect 107 87 117 121
rect 61 75 117 87
rect 147 75 201 159
rect 231 93 309 159
rect 231 75 265 93
rect 257 59 265 75
rect 299 59 309 93
rect 257 47 309 59
rect 339 93 417 177
rect 339 59 349 93
rect 383 59 417 93
rect 339 47 417 59
rect 447 161 523 177
rect 447 127 477 161
rect 511 127 523 161
rect 447 93 523 127
rect 447 59 477 93
rect 511 59 523 93
rect 447 47 523 59
<< pdiff >>
rect 257 485 309 497
rect 257 455 265 485
rect 61 443 117 455
rect 61 409 73 443
rect 107 409 117 443
rect 61 371 117 409
rect 147 443 201 455
rect 147 409 157 443
rect 191 409 201 443
rect 147 371 201 409
rect 231 451 265 455
rect 299 451 309 485
rect 231 417 309 451
rect 231 383 265 417
rect 299 383 309 417
rect 231 371 309 383
rect 247 297 309 371
rect 339 485 417 497
rect 339 451 369 485
rect 403 451 417 485
rect 339 417 417 451
rect 339 383 369 417
rect 403 383 417 417
rect 339 297 417 383
rect 447 485 523 497
rect 447 451 477 485
rect 511 451 523 485
rect 447 417 523 451
rect 447 383 477 417
rect 511 383 523 417
rect 447 349 523 383
rect 447 315 477 349
rect 511 315 523 349
rect 447 297 523 315
<< ndiffc >>
rect 73 87 107 121
rect 265 59 299 93
rect 349 59 383 93
rect 477 127 511 161
rect 477 59 511 93
<< pdiffc >>
rect 73 409 107 443
rect 157 409 191 443
rect 265 451 299 485
rect 265 383 299 417
rect 369 451 403 485
rect 369 383 403 417
rect 477 451 511 485
rect 477 383 511 417
rect 477 315 511 349
<< poly >>
rect 309 497 339 523
rect 417 497 447 523
rect 117 455 147 481
rect 201 455 231 481
rect 117 265 147 371
rect 60 249 147 265
rect 60 215 76 249
rect 110 215 147 249
rect 60 199 147 215
rect 117 159 147 199
rect 201 265 231 371
rect 309 265 339 297
rect 417 265 447 297
rect 201 249 267 265
rect 201 215 217 249
rect 251 215 267 249
rect 201 199 267 215
rect 309 249 447 265
rect 309 215 325 249
rect 359 215 447 249
rect 309 199 447 215
rect 201 159 231 199
rect 309 177 339 199
rect 417 177 447 199
rect 117 49 147 75
rect 201 49 231 75
rect 309 21 339 47
rect 417 21 447 47
<< polycont >>
rect 76 215 110 249
rect 217 215 251 249
rect 325 215 359 249
<< locali >>
rect 0 527 29 561
rect 63 527 121 561
rect 155 527 213 561
rect 247 527 305 561
rect 339 527 397 561
rect 431 527 489 561
rect 523 527 552 561
rect 57 443 113 527
rect 249 485 315 527
rect 57 409 73 443
rect 107 409 113 443
rect 57 393 113 409
rect 147 443 207 459
rect 147 409 157 443
rect 191 409 207 443
rect 17 265 80 353
rect 147 349 207 409
rect 249 451 265 485
rect 299 451 315 485
rect 249 417 315 451
rect 249 383 265 417
rect 299 383 315 417
rect 353 485 443 493
rect 353 451 369 485
rect 403 451 443 485
rect 353 417 443 451
rect 353 383 369 417
rect 403 383 443 417
rect 147 315 335 349
rect 301 265 335 315
rect 17 249 155 265
rect 17 215 76 249
rect 110 215 155 249
rect 201 249 267 265
rect 201 215 217 249
rect 251 215 267 249
rect 301 249 359 265
rect 301 215 325 249
rect 301 199 359 215
rect 301 181 335 199
rect 57 143 335 181
rect 57 121 123 143
rect 57 87 73 121
rect 107 87 123 121
rect 393 109 443 383
rect 477 485 535 527
rect 511 451 535 485
rect 477 417 535 451
rect 511 383 535 417
rect 477 349 535 383
rect 511 315 535 349
rect 477 299 535 315
rect 57 71 123 87
rect 249 93 299 109
rect 249 59 265 93
rect 249 17 299 59
rect 333 93 443 109
rect 333 59 349 93
rect 383 59 443 93
rect 333 51 443 59
rect 477 161 535 177
rect 511 127 535 161
rect 477 93 535 127
rect 511 59 535 93
rect 477 17 535 59
rect 0 -17 29 17
rect 63 -17 121 17
rect 155 -17 213 17
rect 247 -17 305 17
rect 339 -17 397 17
rect 431 -17 489 17
rect 523 -17 552 17
<< viali >>
rect 29 527 63 561
rect 121 527 155 561
rect 213 527 247 561
rect 305 527 339 561
rect 397 527 431 561
rect 489 527 523 561
rect 29 -17 63 17
rect 121 -17 155 17
rect 213 -17 247 17
rect 305 -17 339 17
rect 397 -17 431 17
rect 489 -17 523 17
<< metal1 >>
rect 0 561 552 592
rect 0 527 29 561
rect 63 527 121 561
rect 155 527 213 561
rect 247 527 305 561
rect 339 527 397 561
rect 431 527 489 561
rect 523 527 552 561
rect 0 496 552 527
rect 0 17 552 48
rect 0 -17 29 17
rect 63 -17 121 17
rect 155 -17 213 17
rect 247 -17 305 17
rect 339 -17 397 17
rect 431 -17 489 17
rect 523 -17 552 17
rect 0 -48 552 -17
<< labels >>
flabel metal1 s 29 527 63 561 0 FreeSans 200 0 0 0 VPWR
port 2 nsew
flabel metal1 s 29 -17 63 17 0 FreeSans 200 0 0 0 VGND
port 3 nsew
flabel locali s 121 221 155 255 0 FreeSans 250 0 0 0 A
port 4 nsew
flabel locali s 397 153 431 187 0 FreeSans 250 0 0 0 X
port 5 nsew
flabel locali s 29 221 63 255 0 FreeSans 250 0 0 0 A
port 4 nsew
flabel locali s 397 85 431 119 0 FreeSans 250 0 0 0 X
port 5 nsew
flabel locali s 397 221 431 255 0 FreeSans 250 0 0 0 X
port 5 nsew
flabel locali s 397 289 431 323 0 FreeSans 250 0 0 0 X
port 5 nsew
flabel locali s 397 357 431 391 0 FreeSans 250 0 0 0 X
port 5 nsew
flabel locali s 397 425 431 459 0 FreeSans 250 0 0 0 X
port 5 nsew
flabel locali s 213 221 247 255 0 FreeSans 250 0 0 0 B
port 6 nsew
flabel nwell s 29 527 63 561 0 FreeSans 200 0 0 0 VPB
port 7 nsew
flabel pwell s 29 -17 63 17 0 FreeSans 200 0 0 0 VNB
port 8 nsew
rlabel comment s 0 0 0 0 4 and2_2
<< properties >>
string FIXED_BBOX 0 0 552 544
string path 0.000 2.720 2.760 2.720 
<< end >>

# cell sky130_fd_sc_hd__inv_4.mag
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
